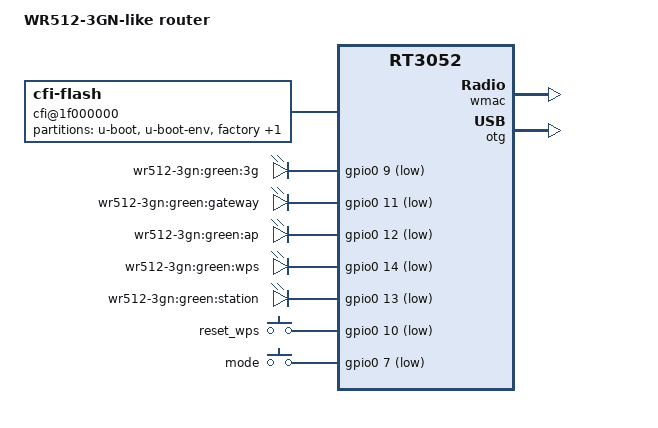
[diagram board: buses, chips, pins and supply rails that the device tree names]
/dts-v1/;

#include "rt3050.dtsi"

/ {
	compatible = "WR512-3GN", "ralink,rt3052-soc";
	model = "WR512-3GN-like router";

	cfi@1f000000 {
		compatible = "cfi-flash";
		reg = <0x1f000000 0x800000>;
		bank-width = <2>;
		device-width = <2>;
		#address-cells = <1>;
		#size-cells = <1>;

		partition@0 {
			label = "u-boot";
			reg = <0x0 0x30000>;
			read-only;
		};

		partition@30000 {
			label = "u-boot-env";
			reg = <0x30000 0x10000>;
			read-only;
		};

		factory: partition@40000 {
			label = "factory";
			reg = <0x40000 0x10000>;
			read-only;
		};

		partition@50000 {
			label = "firmware";
			reg = <0x50000 0x7b0000>;
		};
	};

	gpio-leds {
		compatible = "gpio-leds";

		3g {
			label = "wr512-3gn:green:3g";
			gpios = <&gpio0 9 1>;
		};

		gateway {
			label = "wr512-3gn:green:gateway";
			gpios = <&gpio0 11 1>;
		};

		ap {
			label = "wr512-3gn:green:ap";
			gpios = <&gpio0 12 1>;
		};

		wps {
			label = "wr512-3gn:green:wps";
			gpios = <&gpio0 14 1>;
		};

		station {
			label = "wr512-3gn:green:station";
			gpios = <&gpio0 13 1>;
		};
	};

	gpio-keys-polled {
		compatible = "gpio-keys-polled";
		#address-cells = <1>;
		#size-cells = <0>;
		poll-interval = <20>;

		reset_wps {
			label = "reset_wps";
			gpios = <&gpio0 10 1>;
			linux,code = <0x198>;
		};

		mode {
			label = "mode";
			gpios = <&gpio0 7 1>;
			linux,code = <0x32>;
		};
	};
};

&pinctrl {
	state_default: pinctrl0 {
		gpio {
			ralink,group = "spi", "i2c", "jtag", "rgmii", "mdio", "uartf";
			ralink,function = "gpio";
		};
	};
};

&esw {
	mediatek,portmap = <0x2f>;
};

&wmac {
	ralink,mtd-eeprom = <&factory 0>;
};

&otg {
	status = "okay";
};
